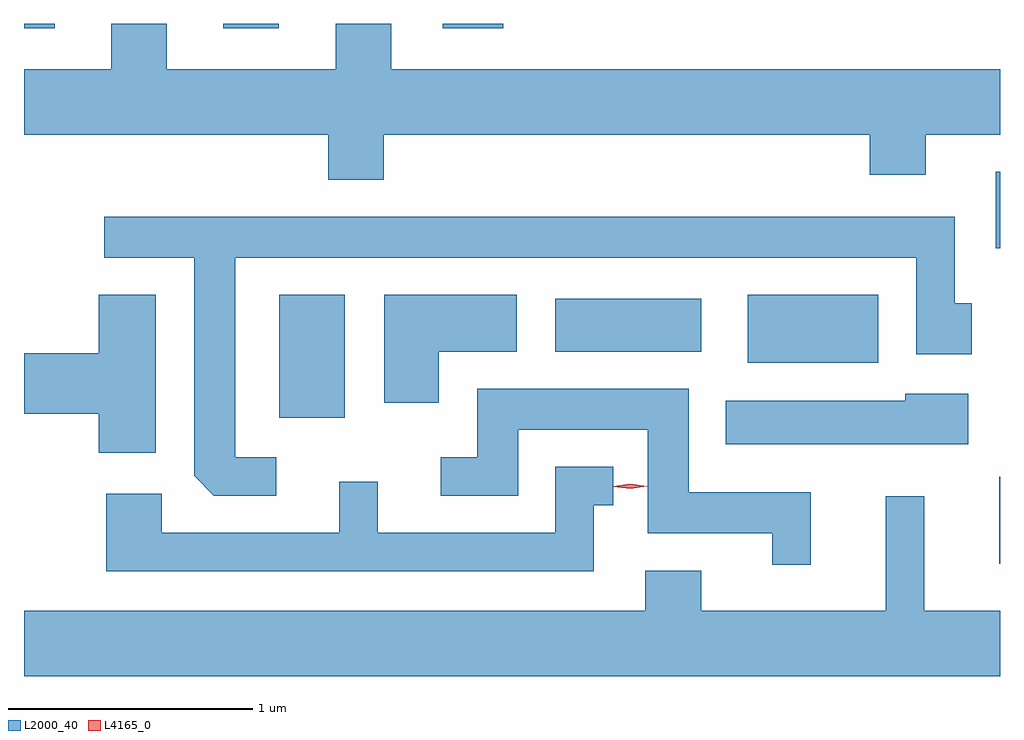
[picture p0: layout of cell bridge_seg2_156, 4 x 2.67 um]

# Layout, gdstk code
import gdstk
lib = gdstk.Library(unit=1e-6, precision=1e-09)
def R(c, l, rs):  # rectangles x0, y0, x1, y1
    for r in rs: c.add(gdstk.rectangle(r[:2], r[2:], *l))
def P(c, l, *ps):  # polygons
    for p in ps: c.add(gdstk.Polygon(p, *l))
L2000_40 = (2000, 40)
L4165_0 = (4165, 0)

bridge_seg2_156 = lib.new_cell('bridge_seg2_156')
R(bridge_seg2_156, L2000_40, [(690.731,1088.736,690.734,1089.094), (687.781,1089.336,688.049,1089.839), (689.701,1089.561,690.234,1089.839), (688.911,1089.606,689.509,1089.824), (690.716,1090.031,690.734,1090.344), (686.734,1090.931,686.859,1090.95), (687.551,1090.931,687.779,1090.95), (688.451,1090.931,688.699,1090.95)])
P(bridge_seg2_156, L2000_40, [(688.209,1090.496),(690.201,1090.496),(690.201,1090.331),(690.429,1090.331),(690.429,1090.496),(690.734,1090.496),(690.734,1090.764),(688.239,1090.764),(688.239,1090.95),(688.011,1090.95),(688.011,1090.764),(687.319,1090.764),(687.319,1090.95),(687.091,1090.95),(687.091,1090.764),(686.734,1090.764),(686.734,1090.496),(687.981,1090.496),(687.981,1090.311),(688.209,1090.311)],
  [(687.768,1089.174),(687.599,1089.174),(687.599,1089.991),(690.391,1089.991),(690.391,1089.596),(690.619,1089.596),(690.619,1089.804),(690.549,1089.804),(690.549,1090.159),(687.063,1090.159),(687.063,1089.991),(687.431,1089.991),(687.431,1089.097),(687.512,1089.016),(687.768,1089.016)],
  [(687.274,1089.839),(687.041,1089.839),(687.041,1089.599),(686.734,1089.599),(686.734,1089.351),(687.041,1089.351),(687.041,1089.191),(687.274,1089.191)],
  [(688.434,1089.606),(688.754,1089.606),(688.754,1089.839),(688.211,1089.839),(688.211,1089.396),(688.434,1089.396)],
  [(689.959,1089.029),(689.459,1089.029),(689.459,1089.454),(688.591,1089.454),(688.591,1089.174),(688.443,1089.174),(688.443,1089.016),(688.759,1089.016),(688.759,1089.286),(689.291,1089.286),(689.291,1088.861),(689.801,1088.861),(689.801,1088.733),(689.959,1088.733)],
  [(690.604,1089.434),(690.346,1089.434),(690.346,1089.404),(689.611,1089.404),(689.611,1089.226),(690.604,1089.226)],
  [(689.069,1088.976),(689.148,1088.976),(689.148,1089.134),(688.911,1089.134),(688.911,1088.864),(688.184,1088.864),(688.184,1089.073),(688.026,1089.073),(688.026,1088.864),(687.299,1088.864),(687.299,1089.024),(687.071,1089.024),(687.071,1088.706),(689.069,1088.706)],
  [(690.734,1088.544),(690.424,1088.544),(690.424,1089.013),(690.266,1089.013),(690.266,1088.544),(689.509,1088.544),(689.509,1088.709),(689.281,1088.709),(689.281,1088.544),(686.734,1088.544),(686.734,1088.276),(690.734,1088.276)])
P(bridge_seg2_156, L4165_0, [(689.218,1089.044),(689.149,1089.053),(689.149,1089.054),(689.149,1089.054),(689.218,1089.064),(689.288,1089.055),(689.288,1089.054),(689.288,1089.054)])

lib.write_gds('bridge_seg2_156.gds')
